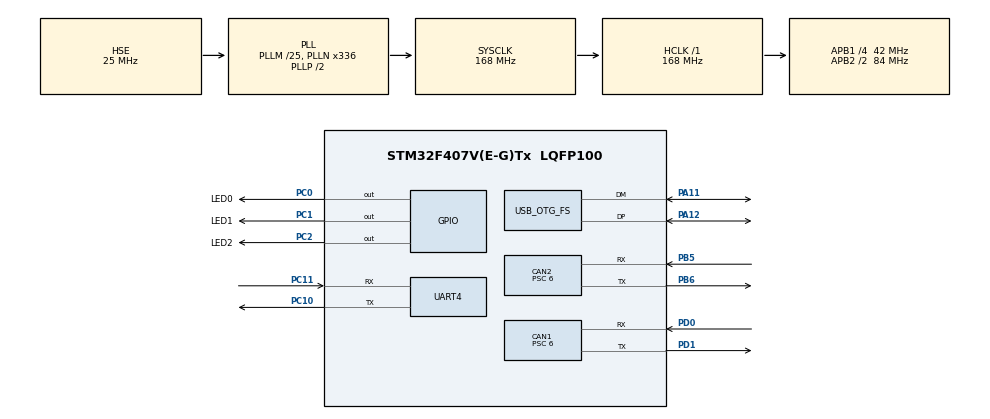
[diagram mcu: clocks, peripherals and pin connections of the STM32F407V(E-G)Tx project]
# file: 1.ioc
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CAN1.BS1=CAN_BS1_3TQ
CAN1.BS2=CAN_BS2_3TQ
CAN1.CalculateBaudRate=1000000
CAN1.CalculateTimeBit=1000
CAN1.CalculateTimeQuantum=142.85714285714286
CAN1.Prescaler=6
CAN2.BS1=CAN_BS1_3TQ
CAN2.BS2=CAN_BS2_3TQ
CAN2.CalculateBaudRate=1000000
CAN2.CalculateTimeBit=1000
CAN2.CalculateTimeQuantum=142.85714285714286
CAN2.Prescaler=6
Dma.Request0=UART4_RX
Dma.UART4_RX.0.Direction=DMA_PERIPH_TO_MEMORY
Dma.UART4_RX.0.FIFOMode=DMA_FIFOMODE_DISABLE
Dma.UART4_RX.0.Instance=DMA1_Stream2
Dma.UART4_RX.0.MemDataAlignment=DMA_MDATAALIGN_BYTE
Dma.UART4_RX.0.MemInc=DMA_MINC_ENABLE
Dma.UART4_RX.0.Mode=DMA_NORMAL
Dma.UART4_RX.0.PeriphDataAlignment=DMA_PDATAALIGN_BYTE
Dma.UART4_RX.0.PeriphInc=DMA_PINC_DISABLE
Dma.UART4_RX.0.Priority=DMA_PRIORITY_LOW
FREERTOS.Tasks01=defaultTask,0,128,StartDefaultTask,Default,NULL,Dynamic,NULL,NULL
Mcu.Family=STM32F4
Mcu.Name=STM32F407V(E-G)Tx
Mcu.Package=LQFP100
NVIC.CAN1_RX0_IRQn=true\:5\:0\:false\:false\:true\:true\:true\:true\:true
NVIC.CAN1_TX_IRQn=true\:5\:0\:false\:false\:true\:true\:true\:true\:true
NVIC.CAN2_RX1_IRQn=true\:5\:0\:false\:false\:true\:true\:true\:true\:true
NVIC.CAN2_TX_IRQn=true\:5\:0\:false\:false\:true\:true\:true\:true\:true
NVIC.DMA1_Stream2_IRQn=true\:5\:0\:false\:false\:true\:true\:false\:true\:true
NVIC.OTG_FS_IRQn=true\:5\:0\:false\:false\:true\:true\:false\:true\:true
NVIC.PriorityGroup=NVIC_PRIORITYGROUP_4
NVIC.TIM2_IRQn=true\:15\:0\:false\:false\:true\:false\:false\:true\:true
NVIC.TimeBase=TIM2_IRQn
NVIC.TimeBaseIP=TIM2
NVIC.UART4_IRQn=true\:5\:0\:false\:false\:true\:true\:true\:true\:true
PA11.Mode=Device_Only
PA11.Signal=USB_OTG_FS_DM
PA12.Mode=Device_Only
PA12.Signal=USB_OTG_FS_DP
PA13.Mode=Serial_Wire
PA13.Signal=SYS_JTMS-SWDIO
PA14.Mode=Serial_Wire
PA14.Signal=SYS_JTCK-SWCLK
PB5.Mode=CAN_Activate
PB5.Signal=CAN2_RX
PB6.Mode=CAN_Activate
PB6.Signal=CAN2_TX
PC0.GPIO_Label=LED0
PC0.PinState=GPIO_PIN_RESET
PC0.Signal=GPIO_Output
PC1.GPIO_Label=LED1
PC1.PinState=GPIO_PIN_SET
PC1.Signal=GPIO_Output
PC10.Mode=Asynchronous
PC10.Signal=UART4_TX
PC11.Mode=Asynchronous
PC11.Signal=UART4_RX
PC2.GPIO_Label=LED2
PC2.PinState=GPIO_PIN_SET
PC2.Signal=GPIO_Output
PD0.Mode=CAN_Activate
PD0.Signal=CAN1_RX
PD1.Mode=CAN_Activate
PD1.Signal=CAN1_TX
PH0-OSC_IN.Mode=HSE-External-Oscillator
PH0-OSC_IN.Signal=RCC_OSC_IN
PH1-OSC_OUT.Mode=HSE-External-Oscillator
PH1-OSC_OUT.Signal=RCC_OSC_OUT
ProjectManager.HeapSize=0x200
ProjectManager.StackSize=0x400
ProjectManager.TargetToolchain=MDK-ARM V5
RCC.48MHZClocksFreq_Value=48000000
RCC.AHBFreq_Value=168000000
RCC.APB1CLKDivider=RCC_HCLK_DIV4
RCC.APB1Freq_Value=42000000
RCC.APB1TimFreq_Value=84000000
RCC.APB2CLKDivider=RCC_HCLK_DIV2
RCC.APB2Freq_Value=84000000
RCC.APB2TimFreq_Value=168000000
RCC.CortexFreq_Value=168000000
RCC.HCLKFreq_Value=168000000
RCC.HSE_VALUE=25000000
RCC.HSI_VALUE=16000000
RCC.LSE_VALUE=32768
RCC.PLLM=25
RCC.PLLN=336
RCC.PLLQ=7
RCC.SYSCLKFreq_VALUE=168000000
RCC.SYSCLKSource=RCC_SYSCLKSOURCE_PLLCLK
RCC.VCOOutputFreq_Value=336000000
UART4.VirtualMode=Asynchronous
USB_DEVICE.CLASS_NAME_FS=CDC
USB_DEVICE.VirtualMode-CDC_FS=Cdc
USB_DEVICE.VirtualModeFS=Cdc_FS
USB_OTG_FS.VirtualMode=Device_Only
VP_FREERTOS_VS_CMSIS_V1.Mode=CMSIS_V1
VP_SYS_VS_tim2.Mode=TIM2
VP_USB_DEVICE_VS_USB_DEVICE_CDC_FS.Mode=CDC_FS
board=custom

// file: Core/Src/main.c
/* USER CODE BEGIN Header */
/**
  ******************************************************************************
  * @file           : main.c
  * @brief          : Main program body
  ******************************************************************************
  * @attention
  *
  * Copyright (c) 2024 STMicroelectronics.
  * All rights reserved.
  *
  * This software is licensed under terms that can be found in the LICENSE file
  * in the root directory of this software component.
  * If no LICENSE file comes with this software, it is provided AS-IS.
  *
  ******************************************************************************
  */
/* USER CODE END Header */
#include "main.h"
#include "cmsis_os.h"
#include "can.h"
#include "dma.h"
#include "usart.h"
#include "usb_device.h"
#include "gpio.h"

/* USER CODE BEGIN Includes */
#include "DataProcess.h"
/* USER CODE END Includes */

/* USER CODE BEGIN PV */
uint8_t usart4_dma_buff[21];
WatchDog_TypeDef Remote_dog;

/* USER CODE END PV */

void SystemClock_Config(void);
void MX_FREERTOS_Init(void);

int main(void)
{

  /* MCU Configuration--------------------------------------------------------*/

  /* Reset of all peripherals, Initializes the Flash interface and the Systick. */
  HAL_Init();

  /* Configure the system clock */
  SystemClock_Config();

  /* Initialize all configured peripherals */
  MX_GPIO_Init();
  MX_DMA_Init();
  MX_CAN1_Init();
  MX_UART4_Init();
  MX_CAN2_Init();
  /* USER CODE BEGIN 2 */
		CanFilter_Init(&hcan1);
		CanFilter_Init(&hcan2);
    HAL_CAN_Start(&hcan1);
		HAL_CAN_Start(&hcan2);
		HAL_CAN_ActivateNotification(&hcan2,CAN_IT_RX_FIFO1_MSG_PENDING);

  __HAL_UART_ENABLE_IT(&huart4,UART_IT_IDLE);
		HAL_UART_Receive_DMA(&huart4,usart4_dma_buff,sizeof usart4_dma_buff);

		WatchDog_Init(&Remote_dog,120);
  /* USER CODE END 2 */

  /* Call init function for freertos objects (in freertos.c) */
  MX_FREERTOS_Init();

  /* Start scheduler */
  osKernelStart();

  /* We should never get here as control is now taken by the scheduler */
  /* Infinite loop */
  while (1)
  {

  }
}

void SystemClock_Config(void)
{
  RCC_OscInitTypeDef RCC_OscInitStruct = {0};
  RCC_ClkInitTypeDef RCC_ClkInitStruct = {0};

  /** Configure the main internal regulator output voltage
  */
  __HAL_RCC_PWR_CLK_ENABLE();
  __HAL_PWR_VOLTAGESCALING_CONFIG(PWR_REGULATOR_VOLTAGE_SCALE1);

  /** Initializes the RCC Oscillators according to the specified parameters
  * in the RCC_OscInitTypeDef structure.
  */
  RCC_OscInitStruct.OscillatorType = RCC_OSCILLATORTYPE_HSE;
  RCC_OscInitStruct.HSEState = RCC_HSE_ON;
  RCC_OscInitStruct.PLL.PLLState = RCC_PLL_ON;
  RCC_OscInitStruct.PLL.PLLSource = RCC_PLLSOURCE_HSE;
  RCC_OscInitStruct.PLL.PLLM = 25;
  RCC_OscInitStruct.PLL.PLLN = 336;
  RCC_OscInitStruct.PLL.PLLP = RCC_PLLP_DIV2;
  RCC_OscInitStruct.PLL.PLLQ = 7;
  if (HAL_RCC_OscConfig(&RCC_OscInitStruct) != HAL_OK)
  {
    Error_Handler();
  }

  /** Initializes the CPU, AHB and APB buses clocks
  */
  RCC_ClkInitStruct.ClockType = RCC_CLOCKTYPE_HCLK|RCC_CLOCKTYPE_SYSCLK
                              |RCC_CLOCKTYPE_PCLK1|RCC_CLOCKTYPE_PCLK2;
  RCC_ClkInitStruct.SYSCLKSource = RCC_SYSCLKSOURCE_PLLCLK;
  RCC_ClkInitStruct.AHBCLKDivider = RCC_SYSCLK_DIV1;
  RCC_ClkInitStruct.APB1CLKDivider = RCC_HCLK_DIV4;
  RCC_ClkInitStruct.APB2CLKDivider = RCC_HCLK_DIV2;

  if (HAL_RCC_ClockConfig(&RCC_ClkInitStruct, FLASH_LATENCY_5) != HAL_OK)
  {
    Error_Handler();
  }
}

void HAL_TIM_PeriodElapsedCallback(TIM_HandleTypeDef *htim)
{
  if (htim->Instance == TIM2) {
    HAL_IncTick();
  }
}

void Error_Handler(void)
{
  __disable_irq();
  while (1)
  {
  }
}

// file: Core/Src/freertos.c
/* USER CODE BEGIN Header */
/**
  ******************************************************************************
  * File Name          : freertos.c
  * Description        : Code for freertos applications
  ******************************************************************************
  * @attention
  *
  * Copyright (c) 2024 STMicroelectronics.
  * All rights reserved.
  *
  * This software is licensed under terms that can be found in the LICENSE file
  * in the root directory of this software component.
  * If no LICENSE file comes with this software, it is provided AS-IS.
  *
  ******************************************************************************
  */
/* USER CODE END Header */

#include "FreeRTOS.h"
#include "task.h"
#include "main.h"
#include "cmsis_os.h"

/* USER CODE BEGIN Includes */
#include "DataProcess.H"

//uint8_t	Command[4] = {Speed_Mode,0x55,0x55,0x55};
//uint8_t  Command_Reset[4] = {0x55,0x55,0x55,0x55};
extern RoboModule_Typedef MI,MII,MIII;
/* USER CODE END Includes */

osThreadId defaultTaskHandle;

void StartDefaultTask(void const * argument);

extern void MX_USB_DEVICE_Init(void);
void MX_FREERTOS_Init(void); /* (MISRA C 2004 rule 8.1) */

/* GetIdleTaskMemory prototype (linked to static allocation support) */
void vApplicationGetIdleTaskMemory( StaticTask_t **ppxIdleTaskTCBBuffer, StackType_t **ppxIdleTaskStackBuffer, uint32_t *pulIdleTaskStackSize );

/* USER CODE BEGIN GET_IDLE_TASK_MEMORY */
static StaticTask_t xIdleTaskTCBBuffer;
static StackType_t xIdleStack[configMINIMAL_STACK_SIZE];

void vApplicationGetIdleTaskMemory( StaticTask_t **ppxIdleTaskTCBBuffer, StackType_t **ppxIdleTaskStackBuffer, uint32_t *pulIdleTaskStackSize )
{
  *ppxIdleTaskTCBBuffer = &xIdleTaskTCBBuffer;
  *ppxIdleTaskStackBuffer = &xIdleStack[0];
  *pulIdleTaskStackSize = configMINIMAL_STACK_SIZE;
  /* place for user code */
}
/* USER CODE END GET_IDLE_TASK_MEMORY */

void MX_FREERTOS_Init(void) {

  /* Create the thread(s) */
  /* definition and creation of defaultTask */
  osThreadDef(defaultTask, StartDefaultTask, osPriorityNormal, 0, 128);
  defaultTaskHandle = osThreadCreate(osThread(defaultTask), NULL);

}

void StartDefaultTask(void const * argument)
{
  /* init code for USB_DEVICE */
  MX_USB_DEVICE_Init();
  /* USER CODE BEGIN StartDefaultTask */
	  MI.ID = 0x010;
		MII.ID = 0x020;
		MIII.ID = 0x030;

		MI.ExpPWM = 2500;
		MII.ExpPWM = 2500;
		MIII.ExpPWM = 2500;

	  CAN_RoboModule_DRV_Reset(&hcan2,&MI);
		CAN_RoboModule_DRV_Reset(&hcan2,&MII);
		CAN_RoboModule_DRV_Reset(&hcan2,&MIII);
		HAL_Delay(500);
		CAN_RoboModule_DRV_Mode_Choice(&hcan2,&MI,Velocity_Mode);
		CAN_RoboModule_DRV_Mode_Choice(&hcan2,&MII,Velocity_Mode);
		CAN_RoboModule_DRV_Mode_Choice(&hcan2,&MIII,Velocity_Mode);
		HAL_Delay(500);
  /* Infinite loop */
  for(;;)
  {
		portENTER_CRITICAL();

		//蓝砖模式选择为速度模式//

		Task_Creat();
		portEXIT_CRITICAL();

		vTaskDelete(NULL);

  }
  /* USER CODE END StartDefaultTask */
}
